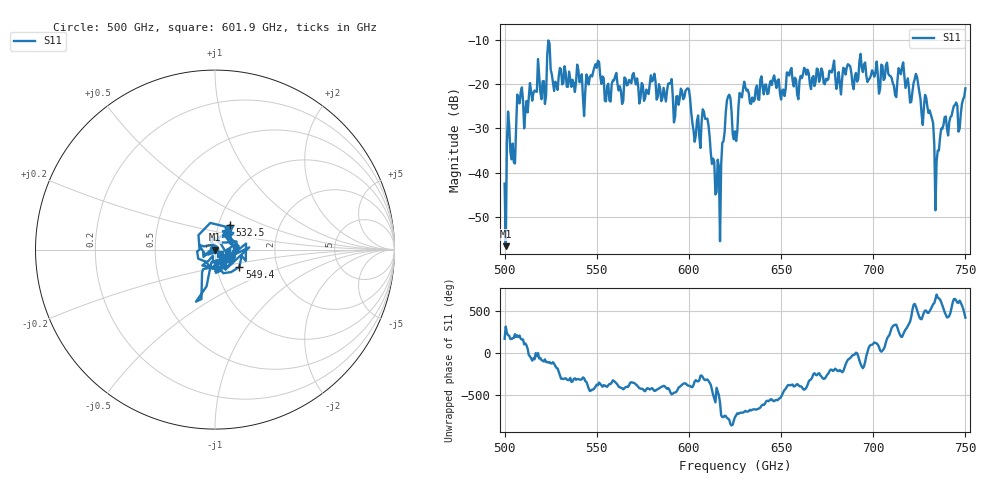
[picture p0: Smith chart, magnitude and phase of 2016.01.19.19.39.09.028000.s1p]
!Created with skrf (http://scikit-rf.org).
# GHz S RI R 50.0
!freq ReS11 ImS11
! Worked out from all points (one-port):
!   401 points, 500 GHz to 750 GHz, reference 50 ohm
!   lowest |S11| = -56.5 dB at 500.6 GHz (marker M1), VSWR 1.00, Z = 50.1 - j0.101 ohm
!   |S11| at or under -10 dB: start of sweep to end of sweep
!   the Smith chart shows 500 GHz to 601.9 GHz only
!   S11 on the Smith chart (normalised r, x): 500 GHz: 0.99, +0.00; 532.5 GHz: 1.13, +0.31; 549.4 GHz: 1.29, -0.26; 601.9 GHz: 1.05, -0.05
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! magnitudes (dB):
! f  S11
! 500 GHz  -42.4
! 500.6 GHz  -56.5
! 502.5 GHz  -29.4
! 505 GHz  -37.6
! 508.1 GHz  -24.4
! 521.2 GHz  -19.3
! 524.4 GHz  -10.9
! 527.5 GHz  -19.5
! 531.2 GHz  -20.1
! 532.5 GHz  -16.0
! 543.8 GHz  -21.8
! 549.4 GHz  -15.5
! 562.5 GHz  -20.5
! 593.8 GHz  -22.7
! 599.4 GHz  -21.0
! 601.9 GHz  -28.7
! 608.8 GHz  -27.8
! 615.6 GHz  -37.1
! 621.2 GHz  -22.8
! 625 GHz  -30.7
! 630.6 GHz  -20.7
! 656.2 GHz  -19.2
! 687.5 GHz  -16.0
! 718.8 GHz  -18.7
! 729.4 GHz  -25.2
! 734.4 GHz  -37.4
! 738.1 GHz  -29.2
! 750 GHz  -21.0
